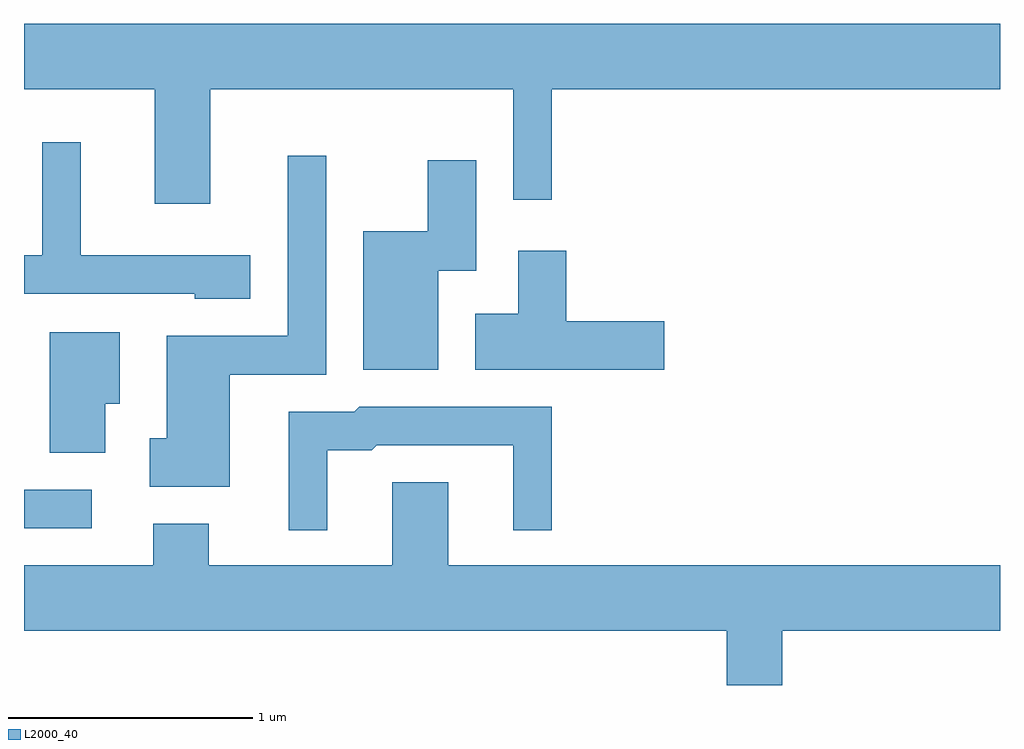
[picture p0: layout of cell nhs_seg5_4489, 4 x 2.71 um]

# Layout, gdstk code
import gdstk
lib = gdstk.Library(unit=1e-6, precision=1e-09)
def R(c, l, rs):  # rectangles x0, y0, x1, y1
    for r in rs: c.add(gdstk.rectangle(r[:2], r[2:], *l))
def P(c, l, *ps):  # polygons
    for p in ps: c.add(gdstk.Polygon(p, *l))
L2000_40 = (2000, 40)

nhs_seg5_4489 = lib.new_cell('nhs_seg5_4489')
R(nhs_seg5_4489, L2000_40, [(317.611,1512.716,317.888,1512.874)])
P(nhs_seg5_4489, L2000_40, [(318.374,1514.516),(319.616,1514.516),(319.616,1514.063),(319.774,1514.063),(319.774,1514.516),(321.611,1514.516),(321.611,1514.784),(317.611,1514.784),(317.611,1514.516),(318.146,1514.516),(318.146,1514.046),(318.374,1514.046)],
  [(318.539,1513.834),(317.844,1513.834),(317.844,1514.298),(317.686,1514.298),(317.686,1513.834),(317.611,1513.834),(317.611,1513.676),(318.311,1513.676),(318.311,1513.656),(318.539,1513.656)],
  [(318.454,1513.346),(318.849,1513.346),(318.849,1514.243),(318.691,1514.243),(318.691,1513.504),(318.196,1513.504),(318.196,1513.084),(318.126,1513.084),(318.126,1512.886),(318.454,1512.886)],
  [(319.309,1513.771),(319.464,1513.771),(319.464,1514.224),(319.266,1514.224),(319.266,1513.934),(319.001,1513.934),(319.001,1513.366),(319.309,1513.366)],
  [(320.234,1513.564),(319.834,1513.564),(319.834,1513.854),(319.636,1513.854),(319.636,1513.594),(319.461,1513.594),(319.461,1513.366),(320.234,1513.366)],
  [(317.944,1513.226),(318.004,1513.226),(318.004,1513.519),(317.716,1513.519),(317.716,1513.026),(317.944,1513.026)],
  [(318.854,1513.036),(319.037,1513.036),(319.057,1513.056),(319.616,1513.056),(319.616,1512.708),(319.774,1512.708),(319.774,1513.214),(318.984,1513.214),(318.964,1513.194),(318.696,1513.194),(318.696,1512.708),(318.854,1512.708)],
  [(320.719,1512.296),(321.611,1512.296),(321.611,1512.564),(319.349,1512.564),(319.349,1512.904),(319.121,1512.904),(319.121,1512.564),(318.369,1512.564),(318.369,1512.734),(318.141,1512.734),(318.141,1512.564),(317.611,1512.564),(317.611,1512.296),(320.491,1512.296),(320.491,1512.072),(320.719,1512.072)])

lib.write_gds('nhs_seg5_4489.gds')
